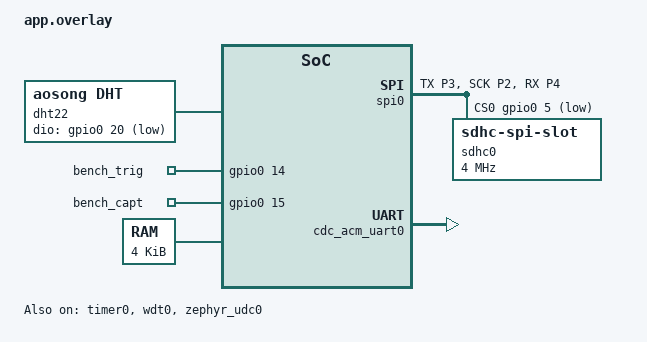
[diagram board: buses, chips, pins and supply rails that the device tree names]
/ {
    /* USB Console Routing */
    chosen {
        zephyr,console = &cdc_acm_uart0;
    };

    /* DHT22 Sensor Mapping (For workload_sim.c) */
    dht22 {
        compatible = "aosong,dht";
        status = "okay";
        /* Ensure this pin matches physical wiring (GP20) */
        dio-gpios = <&gpio0 20 (GPIO_PULL_UP | GPIO_ACTIVE_LOW)>;
    };

    /* Latency Test Pin Mappings (For latency_meas.c) */
    buttons {
        compatible = "gpio-keys";
        
        bench_trig: bench_trig {
            gpios = <&gpio0 14 GPIO_ACTIVE_HIGH>;
            status = "okay";
        };

        bench_capt: bench_capt {
            gpios = <&gpio0 15 GPIO_ACTIVE_HIGH>;
            status = "okay";
        };
    };

    aliases {
        bench-trigger = &bench_trig;
        bench-capture = &bench_capt;
    };

    /* Retained Memory Block (For boot_recovery.c) */
    sram0_retained: memory@2003F000 {
        compatible = "zephyr,memory-region", "mmio-sram";
        reg = <0x2003F000 0x1000>;
        zephyr,memory-region = "RetainedMem";
        status = "okay";

        /* The retained-ram node must live INSIDE the memory region */
        retram: retained_mem {
            compatible = "zephyr,retained-ram";
            status = "okay";
        };
    };
};

/* Enable Hardware Timer for workload_sim.c interrupt stress test */
&timer0 {
    status = "okay";
};

/* Enable the physical watchdog hardware for boot_recovery.c recovery test*/
&wdt0 {
    status = "okay";
};

/* Map PICO Pins to SD Card Module pins */
&pinctrl {
    spi0_default: spi0_default {
        group1 {
            /* TX and SCK do not need pull-ups */
            pinmux = <SPI0_TX_P3>, <SPI0_SCK_P2>;
        };
        group2 {
            /* RX pull-up to prevent -134 ENOTSUP errors */
            pinmux = <SPI0_RX_P4>;
            bias-pull-up; 
        };
    };
};

/* Apply the pins to the SPI bus and define the SDHC node */
&spi0 {
    status = "okay";
    pinctrl-0 = <&spi0_default>;
    pinctrl-names = "default";
    
    /* Software Chip Select */
    cs-gpios = <&gpio0 5 GPIO_ACTIVE_LOW>;

    sdhc0: sdhc@0 {
        compatible = "zephyr,sdhc-spi-slot";
        reg = <0>;
        spi-max-frequency = <4000000>; 
        status = "okay";

        /* Disk Subsystem Link */
        sdmmc_disk: mmc {
            compatible = "zephyr,sdmmc-disk";
            status = "okay";
            disk-name = "SD"; 
        };
    };
};
/* USB Device stack for Serial Console */
&zephyr_udc0 {
    status = "okay";
    cdc_acm_uart0: cdc_acm_uart0 {
        compatible = "zephyr,cdc-acm-uart";
    };
};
